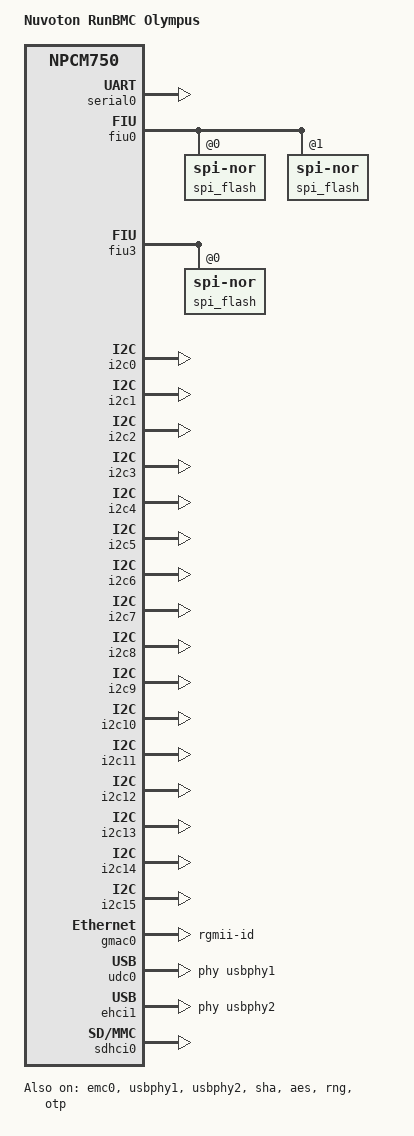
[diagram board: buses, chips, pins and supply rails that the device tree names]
/dts-v1/;
#include "nuvoton-npcm750.dtsi"
#include "nuvoton-npcm750-olympus-pincfg.dtsi"

/ {
	model = "Nuvoton RunBMC Olympus";
	compatible = "npcm750,runbmc", "quanta,olympus";

	chosen {
		stdout-path = &serial0;
		tick-timer = &timer0;
	};

	aliases {
		serial0 = &serial0;
		serial1 = &serial1;
		serial2 = &serial2;
		serial3 = &serial3;
		i2c0 = &i2c0;
		i2c1 = &i2c1;
		i2c2 = &i2c2;
		i2c3 = &i2c3;
		i2c4 = &i2c4;
		i2c5 = &i2c5;
		i2c6 = &i2c6;
		i2c7 = &i2c7;
		i2c8 = &i2c8;
		i2c9 = &i2c9;
		i2c10 = &i2c10;
		i2c11 = &i2c11;
		i2c12 = &i2c12;
		i2c13 = &i2c13;
		i2c14 = &i2c14;
		i2c15 = &i2c15;
		spi0 = &fiu0;
		spi1 = &fiu3;
		spi2 = &fiux;
		spi3 = &spi0;
		spi4 = &spi1;
		mmc0 = &sdhci0;
		gpio0 = &gpio0;
		gpio1 = &gpio1;
		gpio2 = &gpio2;
		gpio3 = &gpio3;
		gpio4 = &gpio4;
		gpio5 = &gpio5;
		gpio6 = &gpio6;
		gpio7 = &gpio7;
		eth0 = &emc0;
		eth1 = &gmac0;
		usb0 = &udc0;
	};
};

&serial0 {
	status = "okay";
	clock-frequency = <24000000>;
};

&fiu0 {
	pinctrl-names = "default";
	pinctrl-0 = <&spi0cs1_pins>;
	status = "okay";
	spi_flash@0 {
		compatible = "jedec,spi-nor";
		reg = <0>;
		memory-map = <0x80000000 0x4000000>;
	};
	spi_flash@1 {
		compatible = "jedec,spi-nor";
		reg = <1>;
		memory-map = <0x88000000 0x4000000>;
	};
};

&fiu3 {
	pinctrl-0 = <&spi3_pins>;
	status = "okay";
	spi_flash@0 {
		compatible = "jedec,spi-nor";
		reg = <0>;
		memory-map = <0xA0000000 0x4000000>;
	};
};

&i2c0 {
	status = "okay";
};

&i2c1 {
	status = "okay";
};

&i2c2 {
	status = "okay";
};

&i2c3 {
	status = "okay";
};

&i2c4 {
	status = "okay";
};

&i2c5 {
	status = "okay";
};

&i2c6 {
	status = "okay";
};

&i2c7 {
	status = "okay";
};

&i2c8 {
	status = "okay";
};

&i2c9 {
	status = "okay";
};

&i2c10 {
	status = "okay";
};

&i2c11 {
	status = "okay";
};

&i2c12 {
	status = "okay";
};

&i2c13 {
	status = "okay";
};

&i2c14 {
	status = "okay";
};

&i2c15 {
	status = "okay";
};

&gmac0 {
	phy-mode = "rgmii-id";
	snps,eee-force-disable;
	status = "okay";
};

&emc0 {
	status = "okay";
	pinctrl-names = "default";
	pinctrl-0 = <&r1_pins
			&r1err_pins>;
	fixed-link {
			speed = <100>;
			full-dulpex;
	};
};

&usbphy1 {
	status = "okay";
};

&usbphy2 {
	status = "okay";
};

&udc0 {
	status = "okay";
	phys = <&usbphy1 0>;
};

&ehci1 {
	status = "okay";
	phys = <&usbphy2 3>;
};

&sdhci0 {
	status = "okay";
};

&sha {
	status = "okay";
};

&aes {
	status = "okay";
};

&rng {
	status = "okay";
};

&otp {
	status = "okay";
};

&pinctrl {
	pinctrl-names = "default";
		pinctrl-0 = <
		&uart1_pins
		&gpio0ol_pins
		&gpio1ol_pins
		&gpio2ol_pins
		&gpio3ol_pins
		&gpio8o_pins
		&gpio9ol_pins
		&gpio12ol_pins
		&gpio13ol_pins
		&gpio14ol_pins
		&gpio15ol_pins
		&gpio37o_pins
		&gpio38_pins
		&gpio39_pins
		&gpio94ol_pins
		&gpio108ol_pins
		&gpio109ol_pins
		&gpio111ol_pins
		&gpio112ol_pins
		&gpio113ol_pins
		&gpio208_pins
		&gpio209ol_pins
		&gpio210ol_pins
		&gpio211ol_pins
		&gpio212ol_pins
		&gpio213ol_pins
		&gpio214ol_pins
		&gpio215ol_pins
		&gpio216ol_pins
		&gpio217ol_pins
		/******* RunBMC outside Connector pins *******/
		&gpio5_pins
		&gpio6_pins
		&gpio7_pins
		&gpio10_pins
		&gpio11_pins
		&gpio20_pins
		&gpio21_pins
		&gpio22o_pins
		&gpio23_pins
		&gpio24_pins
		&gpio25_pins
		&gpio30_pins
		&gpio31_pins
		&gpio40o_pins
		&gpio59_pins
		&gpio76_pins
		&gpio77_pins
		&gpio78o_pins
		&gpio79_pins
		&gpio82_pins
		&gpio83_pins
		&gpio84_pins
		&gpio85o_pins
		&gpio86ol_pins
		&gpio87_pins
		&gpio88_pins
		&gpio89_pins
		&gpio90_pins
		&gpio93_pins
		&gpio114o_pins
		&gpio115_pins
		&gpio120_pins
		&gpio121_pins
		&gpio122_pins
		&gpio123_pins
		&gpio124_pins
		&gpio125_pins
		&gpio126_pins
		&gpio127o_pins
		&gpio136_pins
		&gpio137_pins
		&gpio138_pins
		&gpio139_pins
		&gpio140_pins
		&gpio141_pins
		&gpio142_pins
		&gpio143_pins
		&gpio144_pins
		&gpio146_pins
		&gpio145_pins
		&gpio147_pins
		&gpio153o_pins
		&gpio155_pins
		&gpio160o_pins
		&gpio168_pins
		&gpio169o_pins
		&gpio188o_pins
		&gpio189_pins
		&gpio192o_pins
		&gpio196_pins
		&gpio197_pins
		&gpio198o_pins
		&gpio199o_pins
		&gpio200_pins
		&gpio202_pins
		&gpio203o_pins
		&gpio224_pins
		&gpio225ol_pins
		&gpio226ol_pins
		&gpio227ol_pins
		&gpio228o_pins
		&gpio229o_pins
		&gpio230_pins
		&gpio231o_pins
		&ddc_pins
		&wdog1_pins
		&wdog2_pins>;
};
